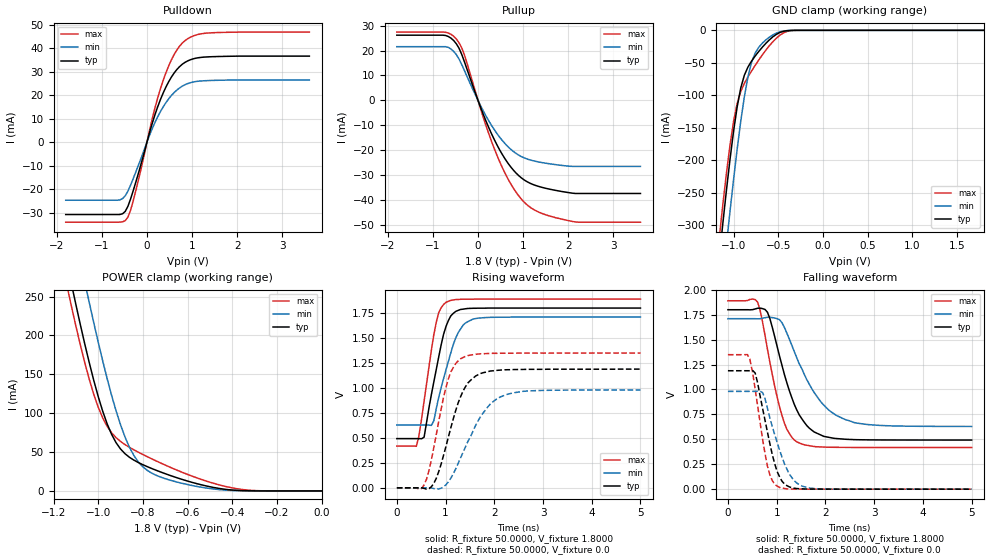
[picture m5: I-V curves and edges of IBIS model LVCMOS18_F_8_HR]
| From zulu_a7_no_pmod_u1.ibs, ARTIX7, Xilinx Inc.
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[Model]  LVCMOS18_F_8_HR
Model_type I/O
Polarity   Non-Inverting
Enable   Active-Low
Vinl = 0.63
Vinh = 1.17
Vmeas =  0.9000V
Cref =   0.0F
Rref =   1.0000M
Vref =   0.0V
C_comp   7.65pF   7.52pF   7.67pF
[Model Spec]
Vinl   0.63   0.5985   0.6615
Vinh   1.17   1.1115   1.2285
[Temperature Range]   25.0000   85.0000   0.0
[Voltage Range]   1.8000V   1.7100V   1.8900V
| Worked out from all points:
|   slope of the pulldown table from 0 to 0.27 V, typ, clamps not added: 16.2 ohm
|   slope of the pullup table from 0 to 0.27 V, typ, clamps not added: 22.2 ohm
|   GND clamp passes 1 mA (typ) near -0.42 V on its own axis
|   POWER clamp passes 1 mA (typ) near -0.39 V on its own axis
|   rising waveform, R_fixture 50.0000, V_fixture 1.8000: 20-80 % time 316ps typ, 371ps min, 270ps max; typ from 0.492 V to 1.8 V
|   rising waveform, R_fixture 50.0000, V_fixture 0.0: 20-80 % time 434ps typ, 612ps min, 348ps max; typ from 0 V to 1.19 V
|   falling waveform, R_fixture 50.0000, V_fixture 1.8000: 20-80 % time 498ps typ, 694ps min, 386ps max; typ from 1.8 V to 0.493 V
|   falling waveform, R_fixture 50.0000, V_fixture 0.0: 20-80 % time 317ps typ, 391ps min, 261ps max; typ from 1.19 V to 0 V
[Pulldown]
|Voltage   I(typ)   I(min)   I(max)
-1.8V     -30.79mA   -24.69mA   -34.04mA
-600mV    -30.76mA   -24.54mA   -34.01mA
-480mV    -29.44mA   -22.78mA   -33.36mA
-420mV    -27.23mA   -20.75mA   -31.83mA
-240mV    -16.58mA   -12.34mA   -20.17mA
120mV     8.208mA    5.91mA     10.22mA
300mV     18.22mA    13.09mA    22.83mA
540mV     27.7mA     19.87mA    35.02mA
660mV     30.92mA    22.18mA    39.23mA
840mV     33.99mA    24.48mA    43.24mA
1.32V     36.34mA    26.25mA    46.49mA
3.6V      36.7mA     26.55mA    46.93mA
[Pullup]
|Voltage   I(typ)   I(min)   I(max)
-1.8V     26.14mA    21.53mA    27.38mA
-720mV    26.02mA    21.53mA    27.3mA
-480mV    22.68mA    18.33mA    24.6mA
-360mV    18.38mA    14.34mA    21.01mA
-300mV    15.4mA     11.91mA    18.16mA
120mV     -5.746mA   -4.326mA   -7.006mA
420mV     -17.82mA   -13.27mA   -22mA
780mV     -27.85mA   -20.39mA   -35.06mA
1.14V     -33.06mA   -23.77mA   -42.61mA
1.5V      -35.2mA    -25.15mA   -45.81mA
2.16V     -37.27mA   -26.43mA   -48.69mA
3.6V      -37.27mA   -26.43mA   -48.78mA
[GND_clamp]
|Voltage   I(typ)   I(min)   I(max)
-1.8V     -1.3A      -1.383A    -1.269A
-1.16V    -348.9mA   -435.6mA   -318.5mA
-1.12V    -296.3mA   -381.5mA   -267.4mA
-1.08V    -245.7mA   -328.8mA   -219.5mA
-1.04V    -198.1mA   -278mA     -176.3mA
-960mV    -117.6mA   -182.5mA   -112.3mA
-920mV    -88.68mA   -139.8mA   -94.04mA
-840mV    -56.6mA    -71.86mA   -71.82mA
-760mV    -39.79mA   -35.41mA   -54.21mA
-560mV    -9.966mA   -7.013mA   -17.38mA
-320mV    -48.25uA   -58.21uA   -167.2uA
1.8V      18.21nA    526.7nA    -33.92nA
[POWER_clamp]
|Voltage   I(typ)   I(min)   I(max)
-1.8V     1.291A     1.371A     1.26A
-1.14V    293.9mA    379.2mA    264mA
-1.1V     239.9mA    323.1mA    212.2mA
-1.06V    188.9mA    268.7mA    164.9mA
-1.04V    165mA      242.3mA    143.6mA
-980mV    102.7mA    167.5mA    94.04mA
-940mV    72.79mA    123mA      74.84mA
-860mV    43.26mA    56.15mA    56.08mA
-800mV    33.74mA    30.98mA    46.86mA
-660mV    18.15mA    12.38mA    28.25mA
-400mV    1.141mA    578.2uA    3.907mA
0V        0A         0A         0A
[Ramp]
| variable   typ   min   max
dV/dt_r  0.7128/0.4340n   0.5880/0.6017n   0.8094/0.3481n
dV/dt_f  0.7843/0.4984n   0.6486/0.6842n   0.8833/0.3857n
R_load = 50.0000
[Rising Waveform]
R_fixture= 50.0000
V_fixture= 1.8000
V_fixture_min= 1.7100
V_fixture_max= 1.8900
|time   V(typ)   V(min)   V(max)
0s        492.5mV    628.3mV    417.8mV
400ps     492.5mV    628.3mV    415.9mV
450ps     492.5mV    628.3mV    509.9mV
560ps     507mV      628.3mV    870mV
710ps     935mV      624.8mV    1.381V
810ps     1.185V     793.7mV    1.658V
1.01ns    1.616V     1.183V     1.857V
1.26ns    1.776V     1.553V     1.885V
1.57ns    1.797V     1.69V      1.888V
5ns       1.799V     1.709V     1.889V
[Rising Waveform]
R_fixture= 50.0000
V_fixture= 0.0
|time   V(typ)   V(min)   V(max)
0s        0V         503.3nV    614.9nV
560ps     -5.756mV   6.067uV    28.75mV
660ps     -7.957mV   367.4uV    174mV
810ps     95.37mV    -12.34mV   532.8mV
1.06ns    512.2mV    60.66mV    1.092V
1.31ns    913.6mV    301.4mV    1.292V
1.46ns    1.05V      465.5mV    1.324V
1.77ns    1.152V     748.3mV    1.342V
2.27ns    1.182V     936.7mV    1.347V
5ns       1.188V     980mV      1.349V
[Falling Waveform]
R_fixture= 50.0000
V_fixture= 1.8000
V_fixture_min= 1.7100
V_fixture_max= 1.8900
|time   V(typ)   V(min)   V(max)
0s        1.8V       1.71V      1.89V
610ps     1.815V     1.709V     1.876V
810ps     1.776V     1.724V     1.408V
1.06ns    1.333V     1.7V       824.6mV
1.21ns    1.066V     1.565V     600.9mV
1.41ns    797.1mV    1.321V     476.2mV
1.67ns    612.1mV    1.053V     436.2mV
1.92ns    540.2mV    868mV      423.3mV
2.42ns    500.5mV    696mV      419mV
5ns       492.8mV    629mV      417.9mV
[Falling Waveform]
R_fixture= 50.0000
V_fixture= 0.0
|time   V(typ)   V(min)   V(max)
0s        1.188V     981.1mV    1.349V
400ps     1.188V     981.1mV    1.35V
450ps     1.188V     981.1mV    1.305V
560ps     1.164V     981mV      1V
710ps     814mV      969.4mV    505.4mV
810ps     575.3mV    813.6mV    234.9mV
1.06ns    124.2mV    393.3mV    16.86mV
1.36ns    9.71mV     85.53mV    1.084mV
1.67ns    1.174mV    11.57mV    407.2uV
5ns       52.96uV    89.13uV    39.98uV
